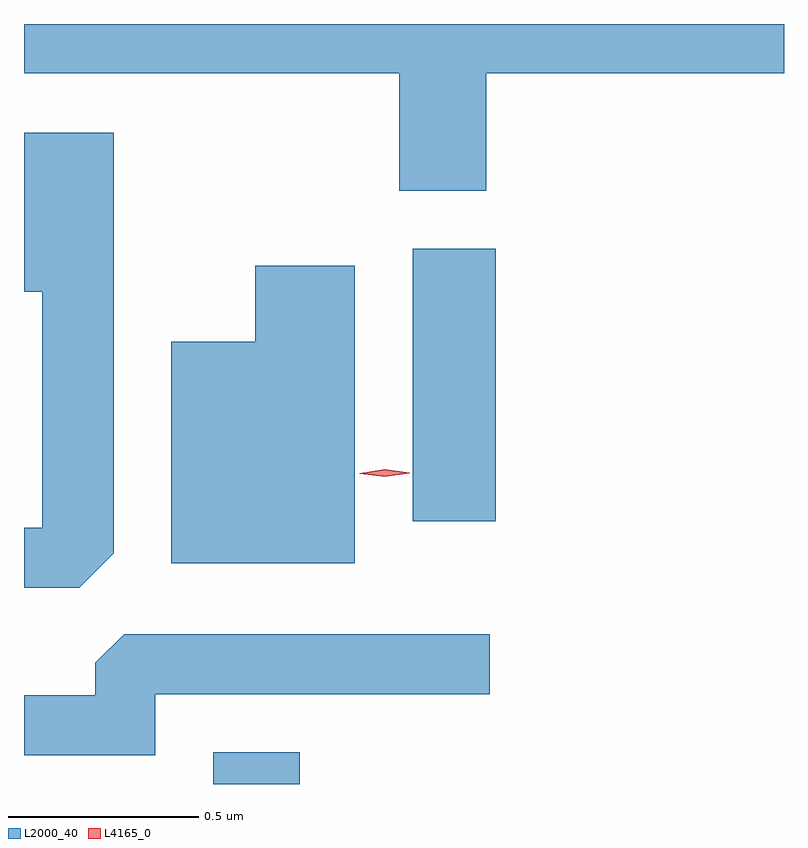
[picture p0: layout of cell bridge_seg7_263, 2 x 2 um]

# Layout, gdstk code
import gdstk
lib = gdstk.Library(unit=1e-6, precision=1e-09)
def R(c, l, rs):  # rectangles x0, y0, x1, y1
    for r in rs: c.add(gdstk.rectangle(r[:2], r[2:], *l))
def P(c, l, *ps):  # polygons
    for p in ps: c.add(gdstk.Polygon(p, *l))
L2000_40 = (2000, 40)
L4165_0 = (4165, 0)

bridge_seg7_263 = lib.new_cell('bridge_seg7_263')
R(bridge_seg7_263, L2000_40, [(1806.861,1694.685,1807.089,1694.769), (1807.386,1695.376,1807.604,1696.094)])
P(bridge_seg7_263, L2000_40, [(1807.579,1696.556),(1808.363,1696.556),(1808.363,1696.685),(1806.363,1696.685),(1806.363,1696.556),(1807.351,1696.556),(1807.351,1696.246),(1807.579,1696.246)],
  [(1806.599,1695.292),(1806.599,1696.399),(1806.363,1696.399),(1806.363,1695.981),(1806.411,1695.981),(1806.411,1695.359),(1806.363,1695.359),(1806.363,1695.201),(1806.509,1695.201)],
  [(1807.234,1696.049),(1806.971,1696.049),(1806.971,1695.849),(1806.751,1695.849),(1806.751,1695.266),(1807.234,1695.266)],
  [(1806.709,1694.921),(1807.588,1694.921),(1807.588,1695.079),(1806.627,1695.079),(1806.551,1695.004),(1806.551,1694.919),(1806.363,1694.919),(1806.363,1694.761),(1806.709,1694.761)])
P(bridge_seg7_263, L4165_0, [(1807.312,1695.493),(1807.246,1695.502),(1807.246,1695.503),(1807.246,1695.503),(1807.312,1695.513),(1807.378,1695.504),(1807.378,1695.504),(1807.378,1695.503)])

lib.write_gds('bridge_seg7_263.gds')
